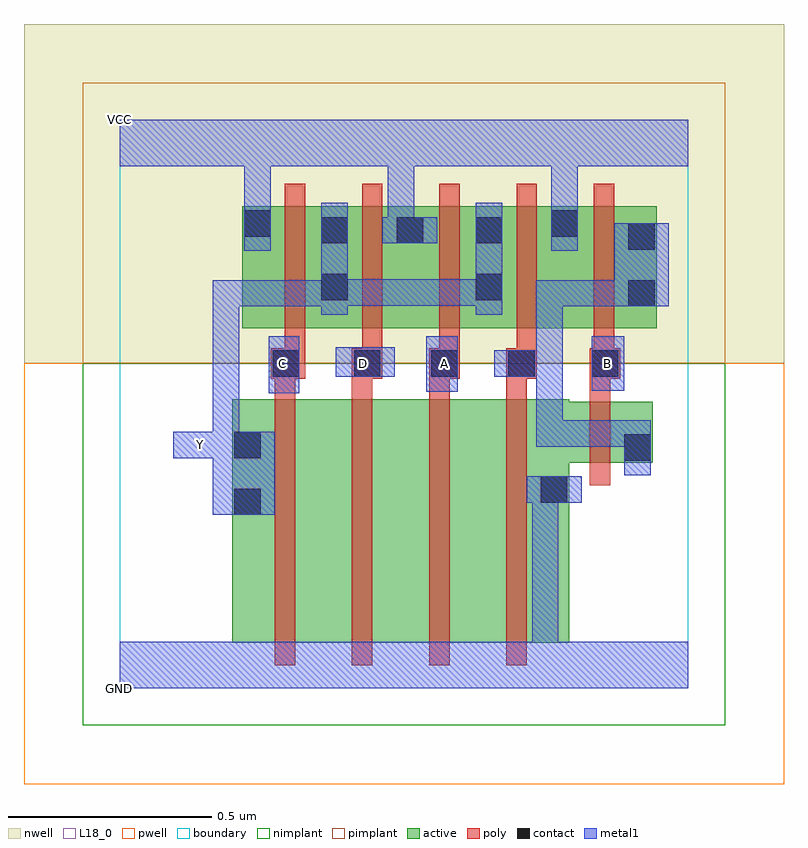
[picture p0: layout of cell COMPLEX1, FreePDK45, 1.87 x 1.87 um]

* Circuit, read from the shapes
.subckt COMPLEX1 A B C D GND VCC Y
M1 n1 C Y VSUBS nfet w=0.6u l=0.05u
M2 n2 D n1 VSUBS nfet w=0.6u l=0.05u
M3 n3 A n2 VSUBS nfet w=0.6u l=0.05u
M4 GND n4 n3 VSUBS nfet w=0.6u l=0.05u
M5 n4 B GND VSUBS nfet w=0.15u l=0.05u
M6 Y C VCC n5 pfet w=0.3u l=0.05u
M7 VCC D Y n5 pfet w=0.3u l=0.05u
M8 Y A VCC n5 pfet w=0.3u l=0.05u
M9 VCC n4 Y n5 pfet w=0.3u l=0.05u
M10 n4 B VCC n5 pfet w=0.3u l=0.05u
.ends

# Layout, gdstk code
import gdstk
lib = gdstk.Library(unit=1e-6, precision=1e-09)
def R(c, l, rs):  # rectangles x0, y0, x1, y1
    for r in rs: c.add(gdstk.rectangle(r[:2], r[2:], *l))
def A(c, l, x, y, w, h, nx, ny, dx, dy):  # array of equal rectangles
    R(c, l, [(x+i*dx, y+j*dy, x+i*dx+w, y+j*dy+h) for i in range(nx) for j in range(ny)])
active = (1, 0)
pwell = (2, 0)
nwell = (3, 0)
nimplant = (4, 0)
pimplant = (5, 0)
poly = (9, 0)
contact = (10, 0)
metal1 = (11, 0)
L18_0 = (18, 0)
boundary = (235, 0)

complex1 = lib.new_cell('COMPLEX1')
R(complex1, active, [(0.277,0.112,0.502,0.712), (0.502,0.112,0.692,0.712), (0.692,0.112,0.882,0.712), (0.882,0.112,1.107,0.712), (0.277,0.145,0.382,0.712), (1.032,0.145,1.107,0.697), (1.032,0.555,1.312,0.705), (1.237,0.555,1.312,0.705), (0.302,0.887,0.567,1.187), (0.302,0.887,0.377,1.187), (0.492,0.887,0.752,1.187), (0.677,0.887,0.947,1.187), (0.872,0.887,1.132,1.187), (1.057,0.887,1.322,1.187), (1.247,0.887,1.322,1.175), (0.492,0.95,0.567,1.167), (0.872,0.95,0.947,1.167), (0.677,1.002,0.752,1.187), (1.057,1.007,1.132,1.187)])
R(complex1, pwell, [(-0.235,-0.235,1.635,0.8)])
R(complex1, nwell, [(-0.235,0.8,1.635,1.635)])
R(complex1, nimplant, [(-0.09,-0.09,1.49,0.8)])
R(complex1, pimplant, [(-0.09,0.8,1.49,1.49)])
A(complex1, poly, 0.382, 0.057, 0.05, 0.71, 4, 1, 0.19, 0)
A(complex1, poly, 0.382, 0.717, 0.05, 0.095, 4, 1, 0.19, 0)
A(complex1, poly, 0.572, 0.762, 0.075, 0.075, 3, 1, 0.19, 0)
A(complex1, poly, 0.407, 0.787, 0.05, 0.095, 5, 1, 0.19, 0)
A(complex1, poly, 0.407, 0.832, 0.05, 0.41, 5, 1, 0.19, 0)
R(complex1, poly, [(1.157,0.5,1.207,0.76), (1.157,0.71,1.207,0.812), (0.372,0.762,0.457,0.837), (1.157,0.762,1.232,0.837)])
A(complex1, contact, 0.577, 0.767, 0.065, 0.065, 3, 1, 0.19, 0)
R(complex1, contact, [(0.282,0.427,0.347,0.492), (1.037,0.457,1.102,0.522), (1.242,0.56,1.307,0.625), (0.282,0.567,0.347,0.632), (0.377,0.767,0.442,0.832), (1.162,0.767,1.227,0.832), (1.252,0.94,1.317,1.005), (0.497,0.955,0.562,1.02), (0.877,0.955,0.942,1.02), (1.252,1.08,1.317,1.145), (0.497,1.095,0.562,1.16), (0.682,1.095,0.747,1.16), (0.877,1.095,0.942,1.16), (0.307,1.112,0.372,1.177), (1.062,1.112,1.127,1.177)])
R(complex1, metal1, [(0,0,1.4,0.115), (1.015,0.05,1.08,0.522), (0.23,0.427,0.382,0.632), (1.002,0.457,1.137,0.522), (1.015,0.457,1.08,0.522), (1.015,0.457,1.08,0.522), (1.242,0.525,1.307,0.66), (0.132,0.567,0.295,0.632), (0.23,0.567,0.295,0.632), (0.23,0.567,0.295,1.005), (1.025,0.595,1.09,0.66), (1.025,0.595,1.307,0.66), (1.025,0.595,1.09,0.832), (1.242,0.595,1.307,0.66), (1.242,0.595,1.307,0.66), (0.367,0.727,0.442,0.867), (0.755,0.73,0.832,0.867), (1.162,0.732,1.242,0.867), (0.532,0.767,0.677,0.84), (0.922,0.767,1.057,0.832), (0.992,0.767,1.09,0.832), (1.025,0.767,1.09,0.832), (1.025,0.767,1.09,1.005), (0.497,0.92,0.562,1.195), (0.877,0.92,0.942,1.195), (0.23,0.94,0.295,1.005), (0.23,0.94,0.295,1.005), (0.23,0.94,0.295,1.005), (0.23,0.94,0.562,1.005), (1.025,0.94,1.09,1.005), (1.025,0.94,1.282,1.005), (1.217,0.94,1.282,1.005), (1.217,0.94,1.282,1.005), (1.217,0.94,1.352,1.145), (0.497,0.942,0.562,1.007), (0.497,0.942,0.562,1.007), (0.497,0.942,0.805,1.007), (0.74,0.942,0.805,1.007), (0.74,0.942,0.805,1.007), (0.74,0.942,0.805,1.007), (0.74,0.942,0.942,1.007), (0.307,1.077,0.372,1.212), (1.062,1.077,1.127,1.212), (0.647,1.095,0.782,1.16), (0.66,1.095,0.725,1.35), (0.307,1.147,0.372,1.35), (1.062,1.147,1.127,1.212), (1.062,1.147,1.127,1.212), (1.062,1.147,1.127,1.35), (0,1.285,1.4,1.4), (0.307,1.285,0.372,1.35), (0.307,1.285,0.372,1.35), (0.66,1.285,0.725,1.35), (0.66,1.285,0.725,1.35)])
A(complex1, L18_0, 0.367, 0.767, 0.065, 0.065, 3, 1, 0.2, 0)
R(complex1, L18_0, [(0,0,1.4,0.115), (1.015,0.05,1.08,0.522), (0.23,0.427,0.382,0.632), (1.002,0.457,1.137,0.522), (1.015,0.457,1.08,0.522), (1.015,0.457,1.08,0.522), (0.132,0.567,0.295,0.632), (0.167,0.567,0.232,0.632), (0.23,0.567,0.295,0.632), (0.23,0.567,0.295,1.005), (0.367,0.727,0.442,0.867), (0.755,0.73,0.832,0.867), (1.162,0.732,1.242,0.867), (0.532,0.767,0.677,0.84), (1.167,0.767,1.232,0.832), (0.497,0.92,0.562,1.195), (0.877,0.92,0.942,1.195), (0.23,0.94,0.295,1.005), (0.23,0.94,0.295,1.005), (0.23,0.94,0.295,1.005), (0.23,0.94,0.562,1.005), (0.497,0.942,0.562,1.007), (0.497,0.942,0.562,1.007), (0.497,0.942,0.805,1.007), (0.74,0.942,0.805,1.007), (0.74,0.942,0.805,1.007), (0.74,0.942,0.805,1.007), (0.74,0.942,0.942,1.007), (0.307,1.077,0.372,1.212), (1.062,1.077,1.127,1.212), (0.647,1.095,0.782,1.16), (0.66,1.095,0.725,1.35), (0.307,1.147,0.372,1.35), (1.062,1.147,1.127,1.212), (1.062,1.147,1.127,1.212), (1.062,1.147,1.127,1.35), (0,1.285,1.4,1.4), (0.307,1.285,0.372,1.35), (0.307,1.285,0.372,1.35), (0.66,1.285,0.725,1.35), (0.66,1.285,0.725,1.35)])
R(complex1, boundary, [(0,0,1.4,1.4)])
complex1.add(gdstk.Label('A', (0.8,0.8), layer=11, texttype=0))
complex1.add(gdstk.Label('B', (1.2,0.8), layer=11, texttype=0))
complex1.add(gdstk.Label('C', (0.4,0.8), layer=11, texttype=0))
complex1.add(gdstk.Label('D', (0.6,0.8), layer=11, texttype=0))
complex1.add(gdstk.Label('Y', (0.2,0.6), layer=11, texttype=0))
complex1.add(gdstk.Label('VCC', (0,1.4), layer=11, texttype=0))
complex1.add(gdstk.Label('GND', (0,0), layer=11, texttype=0))

lib.write_gds('COMPLEX1.gds')
